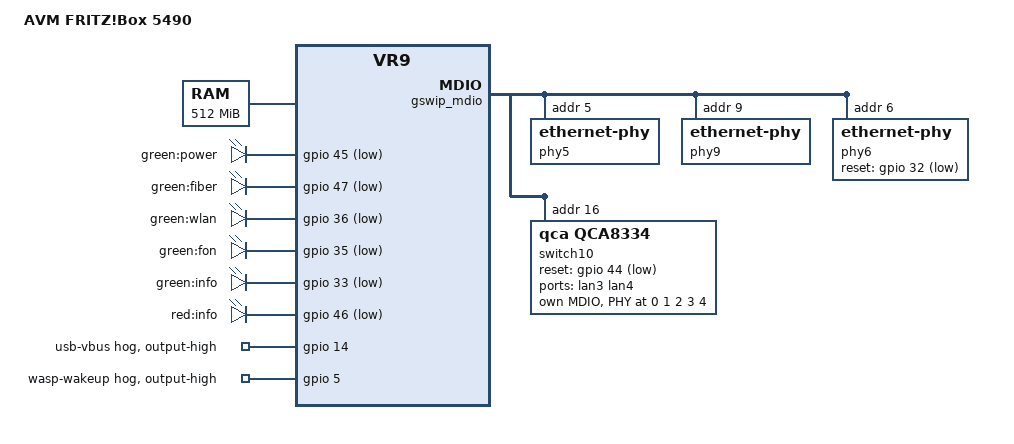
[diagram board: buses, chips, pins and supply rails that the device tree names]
// SPDX-License-Identifier: GPL-2.0-or-later OR MIT

#include "vr9_avm_fritzxx90.dtsi"

/ {
	compatible = "avm,fritz5490", "lantiq,xway", "lantiq,vr9";
	model = "AVM FRITZ!Box 5490";

	memory@0 {
		device_type = "memory";
		reg = <0x0 0x20000000>;
	};

	aliases {
		led-boot = &led_power;
		led-failsafe = &led_info_red;
		led-running = &led_power;
		led-upgrade = &led_info_red;

		led-dsl = &led_info_green;
		led-internet = &led_fon;
		led-wifi = &led_wlan;

//		mdio-gpio0 = &mdio1;
	};

	leds {
		compatible = "gpio-leds";

		// led 5 "Power"
		led_power: power {
			label = "green:power";
			gpios = <&gpio 45 GPIO_ACTIVE_LOW>;
			default-state = "keep";
		};

		// led 4 "Fiber"
		led_fiber: fiber {
			label = "green:fiber";
			gpios = <&gpio 47 GPIO_ACTIVE_LOW>;
		};

		// led 3 "WLAN"
		led_wlan: wlan {
			label = "green:wlan";
			gpios = <&gpio 36 GPIO_ACTIVE_LOW>;
		};

		// led 2 "Fon"
		led_fon: fon {
			label = "green:fon";
			gpios = <&gpio 35 GPIO_ACTIVE_LOW>;
		};

		// led 1 "Info"
		led_info_green: info_green {
			label = "green:info";
			gpios = <&gpio 33 GPIO_ACTIVE_LOW>;
		};
		led_info_red: info_red {
			label = "red:info";
			gpios = <&gpio 46 GPIO_ACTIVE_LOW>;
		};
	};

//	mdio1: mdio@0 {
//		compatible = "virtual,mdio-gpio";
//		#address-cells = <1>;
//		#size-cells = <0>;
//		gpios = <&gpio 43 GPIO_ACTIVE_HIGH>,	/* MDC */
//			<&gpio 42 GPIO_ACTIVE_HIGH>;	/* MDIO */
//	};
};

&gpio {
	usb-vbus {
		gpio-hog;
		line-name = "usb-vbus";
		gpios = <14 GPIO_ACTIVE_HIGH>;
		output-high;
	};

	wasp-wakeup {
		gpio-hog;
		line-name = "wasp-wakeup";
		gpios = <5 GPIO_ACTIVE_HIGH>;
		output-high;
	};
};

&eth0 {
	mtd-mac-address = <&urlader 0xcc>;
	mtd-mac-address-increment = <1>;
};

&gphy0 {
	lantiq,gphy-mode = <GPHY_MODE_GE>;
};

&gphy1 {
	lantiq,gphy-mode = <GPHY_MODE_GE>;
};

&gswip_mdio {
	// lan2 - port2
	phy5: ethernet-phy@5 {
		reg = <0x05>;
	};

	// lan1 - port4
	phy9: ethernet-phy@9 {
		reg = <0x09>;
	};

	// wasp - port5
//	phy7: ethernet-phy@7 {
//		reg = <0x07>;
//		reset-gpios = <&gpio 34 GPIO_ACTIVE_LOW>;
//	};

	// fiber - qca8033 (serdes transciever) - port0
	phy6: ethernet-phy@6 {
		reg = <0x06>;
		reset-gpios = <&gpio 32 GPIO_ACTIVE_LOW>;
	};

// 62 lines
	// switch - qca8334 - port1
	switch10: switch@10 {
		compatible = "qca,qca8334";
		#address-cells = <1>;
		#size-cells = <0>;

		dsa,member = <0 1>;

//		reg = <0x00>;
//		reg = <0x04>;
//		reg = <0x08>;
		reg = <0x10>;
//		reg = <0x12>;
//		reg = <0x15>;
//		reg = <0x18>;
		reset-gpios = <&gpio 44 GPIO_ACTIVE_LOW>;

		ports {
			#address-cells = <1>;
			#size-cells = <0>;

//			port@0 {
//				reg = <0>;
//				label = "cpu";
//				ethernet = <&eth0>;
//				phy-mode = "rgmii-id";
//				fixed-link {
//					speed = <1000>;
//					full-duplex;
//				};
//			};

			port@1 {
				reg = <1>;
				label = "lan3";
				phy-mode="internal";
				phy-handle = <&phy1>;
			};

			port@2 {
				reg = <2>;
				label = "lan4";
				phy-mode="internal";
				phy-handle = <&phy2>;
			};
		};
		mdio {
			phy0: ethernet-phy@0 {
				reg = <0x00>;
			};
			phy1: ethernet-phy@1 {
				reg = <0x01>;
			};
			phy2: ethernet-phy@2 {
				reg = <0x02>;
			};
			phy3: ethernet-phy@3 {
				reg = <0x03>;
			};
			phy4: ethernet-phy@4 {
				reg = <0x04>;
			};
		};
	};
};

&gswip_ports {
	port@0 {
		reg = <0>;
		label = "fiber";
		phy-mode = "rgmii-rxid";
		phy-handle = <&phy6>;
	};

	port@1 {
		reg = <1>;
		label = "switch";

		phy-mode = "rgmii-id";
		fixed-link {
			speed = <1000>;
			full-duplex;
		};
//		phy-mode = "rgmii";
//		phy-handle = <&phy1>;
//		phy-handle = <&switch10>;
	};
	port@2 {
		reg = <2>;
		label = "lan2";
		phy-mode = "internal";
		phy-handle = <&phy5>;
	};

	port@4 {
		reg = <4>;
		label = "lan1";
		phy-mode = "internal";
		phy-handle = <&phy9>;
	};

	port@5 {
		reg = <5>;
		label = "wasp";
		phy-mode = "rgmii-txid";
		fixed-link {
			speed = <1000>;
			full-duplex;
		};
	};
};
